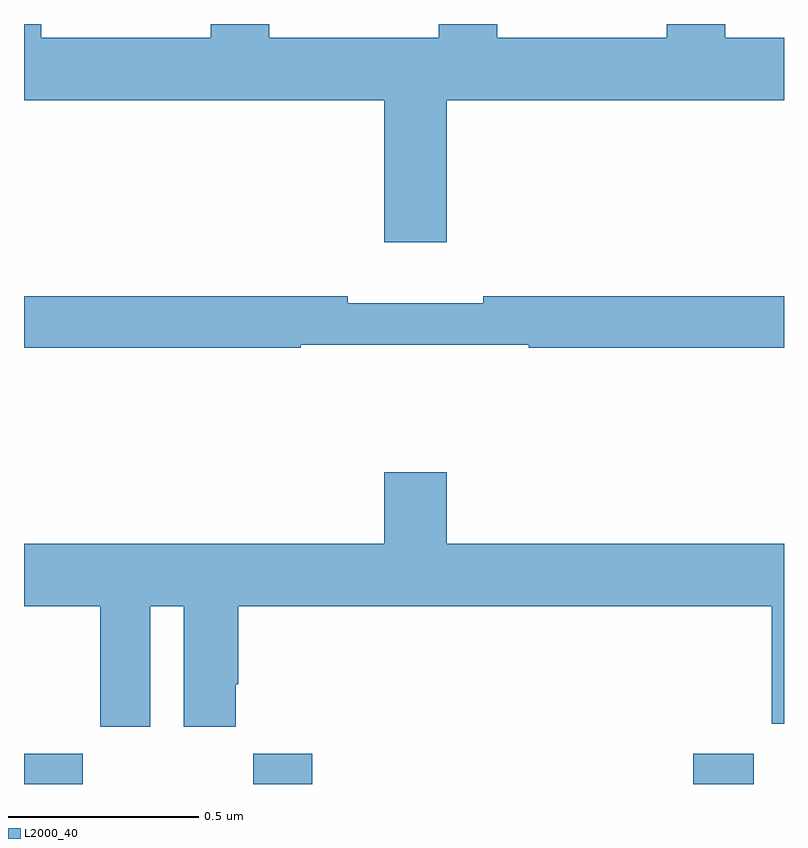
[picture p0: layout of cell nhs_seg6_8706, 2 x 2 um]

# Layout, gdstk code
import gdstk
lib = gdstk.Library(unit=1e-6, precision=1e-09)
def R(c, l, rs):  # rectangles x0, y0, x1, y1
    for r in rs: c.add(gdstk.rectangle(r[:2], r[2:], *l))
def P(c, l, *ps):  # polygons
    for p in ps: c.add(gdstk.Polygon(p, *l))
L2000_40 = (2000, 40)

nhs_seg6_8706 = lib.new_cell('nhs_seg6_8706')
R(nhs_seg6_8706, L2000_40, [(224,981.5,224.154,981.58), (224.603,981.5,224.759,981.58), (225.761,981.5,225.921,981.58)])
P(nhs_seg6_8706, L2000_40, [(225.112,983.3),(226,983.3),(226,983.464),(225.846,983.464),(225.846,983.5),(225.691,983.5),(225.691,983.464),(225.246,983.464),(225.246,983.5),(225.091,983.5),(225.091,983.464),(224.646,983.464),(224.646,983.5),(224.491,983.5),(224.491,983.464),(224.046,983.464),(224.046,983.5),(224,983.5),(224,983.3),(224.948,983.3),(224.948,982.926),(225.112,982.926)],
  [(224.728,982.656),(225.328,982.656),(225.328,982.648),(226,982.648),(226,982.784),(225.208,982.784),(225.208,982.765),(224.852,982.765),(224.852,982.784),(224,982.784),(224,982.648),(224.728,982.648)],
  [(224.332,981.968),(224.42,981.968),(224.42,981.651),(224.557,981.651),(224.557,981.763),(224.564,981.763),(224.564,981.968),(225.968,981.968),(225.968,981.659),(226,981.659),(226,982.132),(225.112,982.132),(225.112,982.321),(224.948,982.321),(224.948,982.132),(224,982.132),(224,981.968),(224.201,981.968),(224.201,981.651),(224.332,981.651)])

lib.write_gds('nhs_seg6_8706.gds')
